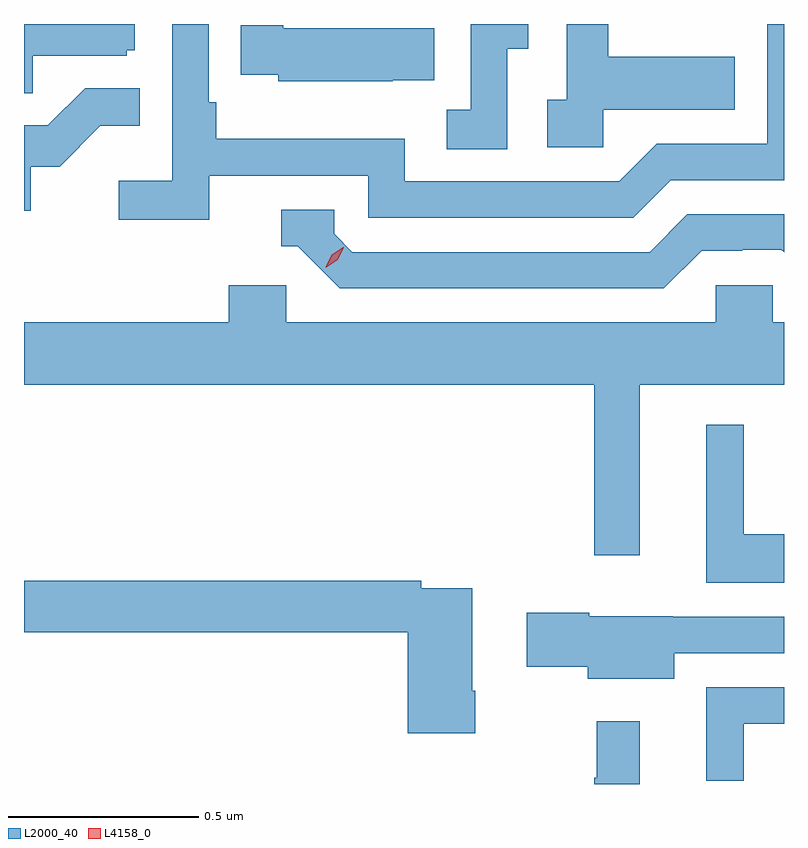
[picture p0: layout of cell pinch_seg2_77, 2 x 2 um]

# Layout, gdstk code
import gdstk
lib = gdstk.Library(unit=1e-6, precision=1e-09)
def P(c, l, *ps):  # polygons
    for p in ps: c.add(gdstk.Polygon(p, *l))
L2000_40 = (2000, 40)
L4158_0 = (4158, 0)

pinch_seg2_77 = lib.new_cell('pinch_seg2_77')
P(pinch_seg2_77, L2000_40, [(1042.272,648.52),(1042.327,648.52),(1042.327,648.585),(1042.176,648.585),(1042.176,648.359),(1042.113,648.359),(1042.113,648.256),(1042.272,648.256)],
  [(1041.023,648.501),(1041.27,648.501),(1041.27,648.516),(1041.292,648.516),(1041.292,648.585),(1041,648.585),(1041,648.403),(1041.023,648.403)],
  [(1042.524,648.359),(1042.871,648.359),(1042.871,648.499),(1042.537,648.499),(1042.537,648.585),(1042.428,648.585),(1042.428,648.386),(1042.377,648.386),(1042.377,648.261),(1042.524,648.261)],
  [(1041.488,648.186),(1041.906,648.186),(1041.906,648.075),(1042.603,648.075),(1042.702,648.174),(1043,648.174),(1043,648.585),(1042.956,648.585),(1042.956,648.27),(1042.665,648.27),(1042.566,648.171),(1042.002,648.171),(1042.002,648.283),(1041.506,648.283),(1041.506,648.379),(1041.486,648.379),(1041.486,648.585),(1041.39,648.585),(1041.39,648.172),(1041.249,648.172),(1041.249,648.07),(1041.488,648.07)],
  [(1041.971,648.437),(1042.079,648.437),(1042.079,648.574),(1041.682,648.574),(1041.682,648.582),(1041.571,648.582),(1041.571,648.452),(1041.669,648.452),(1041.669,648.434),(1041.971,648.434)],
  [(1041.018,648.21),(1041.094,648.21),(1041.201,648.317),(1041.305,648.317),(1041.305,648.416),(1041.161,648.416),(1041.063,648.318),(1041,648.318),(1041,648.093),(1041.018,648.093)],
  [(1042.783,647.988),(1042.89,647.988),(1042.89,647.991),(1042.993,647.991),(1043,647.984),(1043,648.084),(1042.746,648.084),(1042.647,647.985),(1041.864,647.985),(1041.816,648.033),(1041.816,648.096),(1041.677,648.096),(1041.677,648),(1041.72,648),(1041.831,647.889),(1042.684,647.889)],
  [(1042.621,647.636),(1043,647.636),(1043,647.8),(1042.971,647.8),(1042.971,647.898),(1042.821,647.898),(1042.821,647.8),(1041.69,647.8),(1041.69,647.898),(1041.539,647.898),(1041.539,647.8),(1041,647.8),(1041,647.636),(1042.5,647.636),(1042.5,647.187),(1042.621,647.187)],
  [(1043,647.242),(1042.894,647.242),(1042.894,647.53),(1042.796,647.53),(1042.796,647.114),(1043,647.114)],
  [(1042.188,646.831),(1042.18,646.831),(1042.18,647.1),(1042.046,647.1),(1042.046,647.12),(1041,647.12),(1041,646.984),(1042.01,646.984),(1042.01,646.719),(1042.188,646.719)],
  [(1042.711,646.929),(1043,646.929),(1043,647.025),(1042.707,647.025),(1042.707,647.026),(1042.488,647.026),(1042.488,647.036),(1042.323,647.036),(1042.323,646.894),(1042.484,646.894),(1042.484,646.862),(1042.711,646.862)],
  [(1042.894,646.743),(1043,646.743),(1043,646.839),(1042.796,646.839),(1042.796,646.593),(1042.894,646.593)],
  [(1042.621,646.75),(1042.507,646.75),(1042.507,646.601),(1042.5,646.601),(1042.5,646.585),(1042.621,646.585)])
P(pinch_seg2_77, L4158_0, [(1041.794,647.945),(1041.794,647.946),(1041.81,647.978),(1041.84,647.998),(1041.841,647.998),(1041.841,647.998),(1041.825,647.965),(1041.795,647.945)])

lib.write_gds('pinch_seg2_77.gds')
